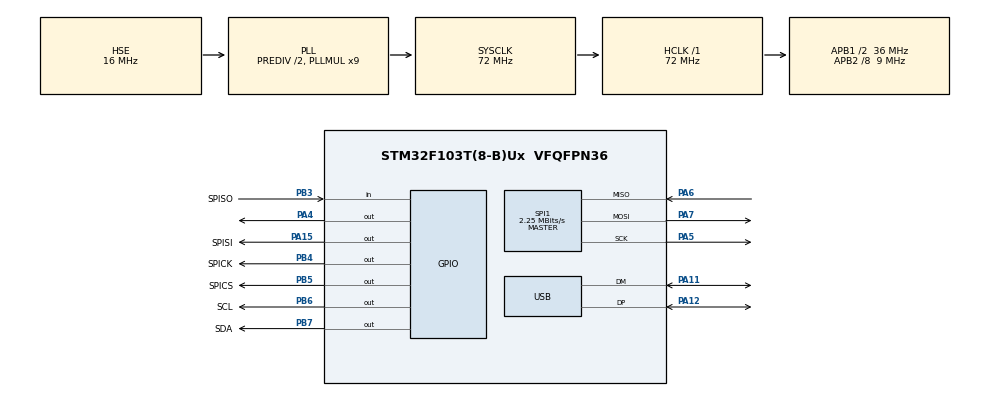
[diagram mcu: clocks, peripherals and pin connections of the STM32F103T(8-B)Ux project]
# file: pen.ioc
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FATFS._CODE_PAGE=936
FATFS._MAX_LFN=20
FATFS._MAX_SS=4096
FATFS._USE_LFN=2
FATFS._VOLUMES=2
Mcu.Family=STM32F1
Mcu.Name=STM32F103T(8-B)Ux
Mcu.Package=VFQFPN36
NVIC.PriorityGroup=NVIC_PRIORITYGROUP_4
NVIC.USB_LP_CAN1_RX0_IRQn=true\:0\:0\:false\:false\:true\:true
PA11.Mode=Device
PA11.Signal=USB_DM
PA12.Mode=Device
PA12.Signal=USB_DP
PA13.Mode=Serial_Wire
PA13.Signal=SYS_JTMS-SWDIO
PA14.Mode=Serial_Wire
PA14.Signal=SYS_JTCK-SWCLK
PA15.GPIO_Label=SPISI
PA15.Signal=GPIO_Output
PA4.GPIO_Speed=GPIO_SPEED_FREQ_HIGH
PA4.Signal=GPIO_Output
PA5.Mode=Full_Duplex_Master
PA5.Signal=SPI1_SCK
PA6.Mode=Full_Duplex_Master
PA6.Signal=SPI1_MISO
PA7.Mode=Full_Duplex_Master
PA7.Signal=SPI1_MOSI
PB3.GPIO_Label=SPISO
PB3.GPIO_PuPd=GPIO_PULLUP
PB3.Signal=GPIO_Input
PB4.GPIO_Label=SPICK
PB4.Signal=GPIO_Output
PB5.GPIO_Label=SPICS
PB5.Signal=GPIO_Output
PB6.GPIO_Label=SCL
PB6.GPIO_Speed=GPIO_SPEED_FREQ_LOW
PB6.Signal=GPIO_Output
PB7.GPIO_Label=SDA
PB7.GPIO_Speed=GPIO_SPEED_FREQ_LOW
PB7.Signal=GPIO_Output
PD0-OSC_IN.Mode=HSE-External-Oscillator
PD0-OSC_IN.Signal=RCC_OSC_IN
PD1-OSC_OUT.Mode=HSE-External-Oscillator
PD1-OSC_OUT.Signal=RCC_OSC_OUT
ProjectManager.HeapSize=0x200
ProjectManager.StackSize=0x400
ProjectManager.TargetToolchain=EWARM
RCC.AHBFreq_Value=72000000
RCC.APB1CLKDivider=RCC_HCLK_DIV2
RCC.APB1Freq_Value=36000000
RCC.APB1TimFreq_Value=72000000
RCC.APB2CLKDivider=RCC_HCLK_DIV8
RCC.APB2Freq_Value=9000000
RCC.APB2TimFreq_Value=18000000
RCC.HCLKFreq_Value=72000000
RCC.HSEDivPLL=RCC_HSE_PREDIV_DIV2
RCC.HSE_VALUE=16000000
RCC.PLLMUL=RCC_PLL_MUL9
RCC.SYSCLKFreq_VALUE=72000000
RCC.SYSCLKSource=RCC_SYSCLKSOURCE_PLLCLK
RCC.USBFreq_Value=48000000
RCC.USBPrescaler=RCC_USBCLKSOURCE_PLL_DIV1_5
SPI1.BaudRatePrescaler=SPI_BAUDRATEPRESCALER_4
SPI1.CLKPhase=SPI_PHASE_2EDGE
SPI1.CLKPolarity=SPI_POLARITY_HIGH
SPI1.CalculateBaudRate=2.25 MBits/s
SPI1.Direction=SPI_DIRECTION_2LINES
SPI1.Mode=SPI_MODE_MASTER
SPI1.VirtualType=VM_MASTER
USB.ep0_mps=DEP0CTL_MPS_64
USB_DEVICE.CLASS_NAME_FS=MSC
USB_DEVICE.MSC_MEDIA_PACKET-MSC_FS=0x800
USB_DEVICE.VirtualModeFS=Msc_FS
VP_FATFS_VS_Generic.Mode=User_defined
VP_USB_DEVICE_VS_USB_DEVICE_MSC_FS.Mode=MSC_FS
board=pen

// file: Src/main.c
/**
  ******************************************************************************
  * File Name          : main.c
  * Description        : Main program body
  ******************************************************************************
  *
  * Copyright (c) 2018 STMicroelectronics International N.V.
  * All rights reserved.
  *
  * Redistribution and use in source and binary forms, with or without
  * modification, are permitted, provided that the following conditions are met:
  *
  * 1. Redistribution of source code must retain the above copyright notice,
  *    this list of conditions and the following disclaimer.
  * 2. Redistributions in binary form must reproduce the above copyright notice,
  *    this list of conditions and the following disclaimer in the documentation
  *    and/or other materials provided with the distribution.
  * 3. Neither the name of STMicroelectronics nor the names of other
  *    contributors to this software may be used to endorse or promote products
  *    derived from this software without specific written permission.
  * 4. This software, including modifications and/or derivative works of this
  *    software, must execute solely and exclusively on microcontroller or
  *    microprocessor devices manufactured by or for STMicroelectronics.
  * 5. Redistribution and use of this software other than as permitted under
  *    this license is void and will automatically terminate your rights under
  *    this license.
  *
  * THIS SOFTWARE IS PROVIDED BY STMICROELECTRONICS AND CONTRIBUTORS "AS IS"
  * AND ANY EXPRESS, IMPLIED OR STATUTORY WARRANTIES, INCLUDING, BUT NOT
  * LIMITED TO, THE IMPLIED WARRANTIES OF MERCHANTABILITY, FITNESS FOR A
  * PARTICULAR PURPOSE AND NON-INFRINGEMENT OF THIRD PARTY INTELLECTUAL PROPERTY
  * RIGHTS ARE DISCLAIMED TO THE FULLEST EXTENT PERMITTED BY LAW. IN NO EVENT
  * SHALL STMICROELECTRONICS OR CONTRIBUTORS BE LIABLE FOR ANY DIRECT, INDIRECT,
  * INCIDENTAL, SPECIAL, EXEMPLARY, OR CONSEQUENTIAL DAMAGES (INCLUDING, BUT NOT
  * LIMITED TO, PROCUREMENT OF SUBSTITUTE GOODS OR SERVICES; LOSS OF USE, DATA,
  * OR PROFITS; OR BUSINESS INTERRUPTION) HOWEVER CAUSED AND ON ANY THEORY OF
  * LIABILITY, WHETHER IN CONTRACT, STRICT LIABILITY, OR TORT (INCLUDING
  * NEGLIGENCE OR OTHERWISE) ARISING IN ANY WAY OUT OF THE USE OF THIS SOFTWARE,
  * EVEN IF ADVISED OF THE POSSIBILITY OF SUCH DAMAGE.
  *
  ******************************************************************************
  */
#include "main.h"
#include "stm32f1xx_hal.h"
#include "fatfs.h"
#include "usb_device.h"

/* USER CODE BEGIN Includes */
#include "oled.h"
#include "LCD_ZK.h"
#include "bsp_spiflash.h"
/* USER CODE END Includes */

SPI_HandleTypeDef hspi1;

/* USER CODE BEGIN PV */
/* Private variables ---------------------------------------------------------*/

/* USER CODE END PV */

void SystemClock_Config(void);
void Error_Handler(void);
static void MX_GPIO_Init(void);
static void MX_SPI1_Init(void);

/* USER CODE BEGIN PFP */
/* Private function prototypes -----------------------------------------------*/

/* USER CODE END PFP */

/* USER CODE BEGIN 0 */

#include "stdlib.h"
FATFS fs;/* FatFs文件系统对象 */
FIL file;/* 文件对象 */
FRESULT f_res;
unsigned int  fnum;  //文件成功读写数量
volatile unsigned char keyvalue=0;
volatile unsigned int timecnt=0;
extern void delay_ms(unsigned int ms);
unsigned char nextflag=1;
unsigned char str[30];

void keyinit(void)
{
  GPIO_InitTypeDef GPIO_InitStruct;
  GPIO_InitStruct.Pin = GPIO_PIN_8|GPIO_PIN_9|GPIO_PIN_10;
  GPIO_InitStruct.Mode = GPIO_MODE_INPUT;//输入
  GPIO_InitStruct.Pull=GPIO_PULLUP;//上拉
  GPIO_InitStruct.Speed = GPIO_SPEED_FREQ_LOW;
  HAL_GPIO_Init(GPIOA, &GPIO_InitStruct);
}

unsigned char readkey(void)
{
  volatile unsigned short tmp1=GPIOA->IDR;
  volatile unsigned short tmp2=GPIOA->IDR;
  volatile unsigned short tmp3=GPIOA->IDR;
  tmp1=(tmp1&(1<<8));
  tmp2=(tmp2&(1<<9));
  tmp3=(tmp3&(1<<10));
  if(tmp1==0)
  {
    return 1;
  }
  else if(tmp2==0)
  {
    return 2;
  }
  else if(tmp3==0)
  {
    return 3;
  }
  return 0;

}
#define Copyaddr 0x400000
#define Copyend  0x7FFFFF
unsigned int size;
//将文件读到flash
unsigned char copyflash(unsigned char nextf)
{

  unsigned char readtmp=0;
  unsigned int i;

  if(nextf==1)
  {
    size=file.fsize;
  }else
  {
    size=0;
  }

  for(i=0;i<size;i++)
  {
    if((i%0x1000)==0)
    {
      SPI_FLASH_SectorErase(i+Copyaddr);//写入前先删除
    }
    f_res=f_read(&file,&readtmp,1,&fnum); //一次读一个字节直到读完全部文件信息
    SPI_FLASH_BufferWrite( &readtmp ,i+Copyaddr,1);
    if(f_eof(&file))
    {
      f_close(&file);
      return 1;
    }else if(f_res!=FR_OK)
    {
      f_close(&file);
      sprintf((char *)str,"挂载失败%d",f_res);
      display_GB2312_string(0,0,str);
      return 1;
    }
    //SPI_FLASH_BufferRead( &readjup ,i+Copyaddr,1);
  }

  return 0;
}
void menclr(unsigned char *p,unsigned short c)
{
  unsigned short i;
  for(i=0;i<c;i++)
  {
    *p++=0;
  }
}

void Replace(unsigned char *p,unsigned short c)
{
  unsigned short i;
  for(i=0;i<c;i++)
  {
    if(p[i]<0x20&&p[i]>0)
    {
      p[i]=0x20;//空格替代换行
    }
  }
}
unsigned int index=0;
unsigned int readnumindex=0;
unsigned char bufs[17];
unsigned char bufx[17];

void ReadBuffer(unsigned int addrindex,unsigned char xs)
{
  unsigned char i;
  unsigned char j;
  unsigned int addr;
  unsigned char snumread;
  unsigned char xnumread;
  if(xs==2&&readnumindex>0)//上翻且页数大于0支持上翻
  {
    addr=addrindex+Copyaddr;
    //下面
    menclr(bufx,17);
    SPI_FLASH_BufferRead(bufx,addr-15,15);//往前读15个
    j=0;
    for(i=0;i<15;i++)//15个里面偶数个英文就往前读16个显示
    {
      if(bufx[i]<=0x7e)
      {
        j++;
      }
    }
    if((j%2)==0)//偶数个英文需要重新重读16个
    {
      SPI_FLASH_BufferRead(bufx,addr-16,16);//往前读16个
      Replace(bufx,16);
      bufx[16]=0;
      display_GB2312_string(2,0,bufx);
      xnumread=16;

    }else
    {
      Replace(bufx,15);
      bufx[15]=' ';
      bufx[16]=0;
      display_GB2312_string(2,0,bufx);
      xnumread=15;
    }

    //上面
    menclr(bufs,17);
    SPI_FLASH_BufferRead(bufs,addr-xnumread-15,15);//往前读15个
    j=0;
    for(i=0;i<15;i++)//15个里面偶数个英文就往前读16个显示
    {
      if(bufs[i]<=0x7e)
      {
        j++;
      }
    }
    if((j%2)==0)//偶数个英文需要重新重读16个
    {
      SPI_FLASH_BufferRead(bufs,addr-xnumread-16,16);//往前读16个
      Replace(bufx,16);
      bufs[16]=0;
      display_GB2312_string(0,0,bufs);
      snumread=16;

    }else
    {
      Replace(bufx,15);//换行替代回车
      bufs[15]=' ';
      bufs[16]=0;
      display_GB2312_string(0,0,bufs);
      snumread=15;
    }

    if(index>0)
    {
      index=((index-snumread)-xnumread);
      readnumindex--;//成功下翻
    }else
    {
      index=0;
      readnumindex=0;
    }

  }else
  {
    addr=index+Copyaddr;
    //上面
    SPI_FLASH_BufferRead(bufs,addr,16);
    j=0;
    for(i=0;i<16;i++)
    {
      if(bufs[i]<=0x7e)
      {
        j++;
      }
    }
    if((j%2)!=0)//奇数个英文
    {
      bufs[15]=' ';
      snumread=15;
    }else
    {
      snumread=16;//正常读了16个
    }
    bufs[16]=0;
    Replace(bufs,snumread);
    display_GB2312_string(0,0,bufs);

    //下面
    SPI_FLASH_BufferRead(bufx,addr+snumread,16);
    j=0;
    for(i=0;i<16;i++)
    {
      if(bufx[i]<=0x7e)
      {
        j++;
      }
    }
    if((j%2)!=0)//奇数个英文
    {
      bufx[15]=' ';
      xnumread=15;
    }else
    {
      xnumread=16;//正常读了16个
    }
    Replace(bufx,xnumread);
    display_GB2312_string(2,0,bufx);

    if(index<size+32)
    {
      index=index+snumread+xnumread;//一共读到的个数

      readnumindex++;//成功下翻
    }else
    {
      index=0;
      readnumindex=0;
    }

  }
}

/* USER CODE END 0 */

int main(void)
{

  /* MCU Configuration----------------------------------------------------------*/

  /* Reset of all peripherals, Initializes the Flash interface and the Systick. */
  HAL_Init();

  /* Configure the system clock */
  SystemClock_Config();

  /* Initialize all configured peripherals */
  MX_GPIO_Init();
  FLASH_SPI_CS_DISABLE();//刚开机不能片选 不然影响驱动
  MX_SPI1_Init();
  MX_USB_DEVICE_Init();
  MX_FATFS_Init();

  /* USER CODE BEGIN 2 */
  //HAL_FLASH_Unlock();
  keyinit();
  initial_rom();

  OLED_Init();

  OLED_Clear();
  display_GB2312_string(0,0,"----欢迎使用----");
  delay_ms(2000);

  //加载驱动
  if(nextflag==1)
  {
    OLED_Clear();
    if(FATFS_LinkDriver(&USER_Driver, USER_Path) == 0)// 注册一个FatFS设备：串行FLASH
    {
      nextflag=1;
    }else
    {
      nextflag=0;
      display_GB2312_string(0,0,"FATFS驱动加载失败！");
    }
  }
  //挂载文件系统
  if(nextflag==1)
  {
    OLED_Clear();
    f_res =f_mount(&fs,(TCHAR const*)USER_Path,1);
    if(f_res==FR_OK)
    {
      nextflag=1;
      display_GB2312_string(0,0,"文件系统挂载成功！");
    }else
    {
      nextflag=0;
      sprintf((char *)str,"挂载失败%d",f_res);
      display_GB2312_string(0,0,str);
    }
  }

  unsigned char TXTPath[9];
  TXTPath[0]=USER_Path[0];
  TXTPath[1]=USER_Path[1];
  TXTPath[2]=USER_Path[2];
  TXTPath[3]='1';
  TXTPath[4]='.';
  TXTPath[5]='t';
  TXTPath[6]='x';
  TXTPath[7]='t';
  TXTPath[8]=0;
  //打开文件
  if(nextflag==1)
  {
    OLED_Clear();
    if(FR_OK ==f_open(&file, (const char *)TXTPath, FA_OPEN_EXISTING|FA_READ))
    {
      nextflag=1;
      sprintf((char *)str,"TXT大小:%d",file.fsize);
      display_GB2312_string(0,0,str);

    }else
    {
      nextflag=0;
      sprintf((char *)str,"打开失败%d",f_res);
      display_GB2312_string(0,0,str);
    }
  }
  copyflash(nextflag);
  /* USER CODE END 2 */

  /* Infinite loop */
  while (1)
  {

  /* USER CODE BEGIN 3 */
    if(keyvalue==1||keyvalue==2)
    {
 Lgto:
      OLED_Clear();
      if(index<size+32)
      {
        ReadBuffer(index,keyvalue);

      }else
      {
        display_GB2312_string(0,0,"-------完-------");
        index=0;
      }
      keyvalue=0;
    }else if(keyvalue==3)
    {
      static unsigned char flagrest=0;

      keyvalue=0;
      index=0;
      readnumindex=0;//页数记录
      if(flagrest==0)
      {
        flagrest=1;
        OLED_Clear();
      }else if(flagrest==1)
      {
        flagrest=0;
        goto Lgto;
      }
    }
  }
  /* USER CODE END 3 */

}

/** System Clock Configuration
*/
void SystemClock_Config(void)
{

  RCC_OscInitTypeDef RCC_OscInitStruct;
  RCC_ClkInitTypeDef RCC_ClkInitStruct;
  RCC_PeriphCLKInitTypeDef PeriphClkInit;

    /**Initializes the CPU, AHB and APB busses clocks
    */
  RCC_OscInitStruct.OscillatorType = RCC_OSCILLATORTYPE_HSE;
  RCC_OscInitStruct.HSEState = RCC_HSE_ON;
  RCC_OscInitStruct.HSEPredivValue = RCC_HSE_PREDIV_DIV2;
  RCC_OscInitStruct.HSIState = RCC_HSI_ON;
  RCC_OscInitStruct.PLL.PLLState = RCC_PLL_ON;
  RCC_OscInitStruct.PLL.PLLSource = RCC_PLLSOURCE_HSE;
  RCC_OscInitStruct.PLL.PLLMUL = RCC_PLL_MUL9;
  if (HAL_RCC_OscConfig(&RCC_OscInitStruct) != HAL_OK)
  {
    Error_Handler();
  }

    /**Initializes the CPU, AHB and APB busses clocks
    */
  RCC_ClkInitStruct.ClockType = RCC_CLOCKTYPE_HCLK|RCC_CLOCKTYPE_SYSCLK
                              |RCC_CLOCKTYPE_PCLK1|RCC_CLOCKTYPE_PCLK2;
  RCC_ClkInitStruct.SYSCLKSource = RCC_SYSCLKSOURCE_PLLCLK;
  RCC_ClkInitStruct.AHBCLKDivider = RCC_SYSCLK_DIV1;
  RCC_ClkInitStruct.APB1CLKDivider = RCC_HCLK_DIV2;
  RCC_ClkInitStruct.APB2CLKDivider = RCC_HCLK_DIV8;

  if (HAL_RCC_ClockConfig(&RCC_ClkInitStruct, FLASH_LATENCY_2) != HAL_OK)
  {
    Error_Handler();
  }

  PeriphClkInit.PeriphClockSelection = RCC_PERIPHCLK_USB;
  PeriphClkInit.UsbClockSelection = RCC_USBCLKSOURCE_PLL_DIV1_5;
  if (HAL_RCCEx_PeriphCLKConfig(&PeriphClkInit) != HAL_OK)
  {
    Error_Handler();
  }

    /**Configure the Systick interrupt time
    */
  HAL_SYSTICK_Config(HAL_RCC_GetHCLKFreq()/1000);

    /**Configure the Systick
    */
  HAL_SYSTICK_CLKSourceConfig(SYSTICK_CLKSOURCE_HCLK);

  /* SysTick_IRQn interrupt configuration */
  HAL_NVIC_SetPriority(SysTick_IRQn, 0, 0);
}

/* SPI1 init function */
static void MX_SPI1_Init(void)
{

  hspi1.Instance = SPI1;
  hspi1.Init.Mode = SPI_MODE_MASTER;
  hspi1.Init.Direction = SPI_DIRECTION_2LINES;
  hspi1.Init.DataSize = SPI_DATASIZE_8BIT;
  hspi1.Init.CLKPolarity = SPI_POLARITY_HIGH;
  hspi1.Init.CLKPhase = SPI_PHASE_2EDGE;
  hspi1.Init.NSS = SPI_NSS_SOFT;
  hspi1.Init.BaudRatePrescaler = SPI_BAUDRATEPRESCALER_4;
  hspi1.Init.FirstBit = SPI_FIRSTBIT_MSB;
  hspi1.Init.TIMode = SPI_TIMODE_DISABLE;
  hspi1.Init.CRCCalculation = SPI_CRCCALCULATION_DISABLE;
  hspi1.Init.CRCPolynomial = 10;
  if (HAL_SPI_Init(&hspi1) != HAL_OK)
  {
    Error_Handler();
  }

}

/** Configure pins as
        * Analog
        * Input
        * Output
        * EVENT_OUT
        * EXTI
*/
static void MX_GPIO_Init(void)
{

  GPIO_InitTypeDef GPIO_InitStruct;

  /* GPIO Ports Clock Enable */
  __HAL_RCC_GPIOD_CLK_ENABLE();
  __HAL_RCC_GPIOA_CLK_ENABLE();
  __HAL_RCC_GPIOB_CLK_ENABLE();

  /*Configure GPIO pin Output Level */
  HAL_GPIO_WritePin(GPIOA, GPIO_PIN_4|SPISI_Pin, GPIO_PIN_RESET);

  /*Configure GPIO pin Output Level */
  HAL_GPIO_WritePin(GPIOB, SPICK_Pin|SPICS_Pin|SCL_Pin|SDA_Pin, GPIO_PIN_RESET);

  /*Configure GPIO pin : PA4 */
  GPIO_InitStruct.Pin = GPIO_PIN_4;
  GPIO_InitStruct.Mode = GPIO_MODE_OUTPUT_PP;
  GPIO_InitStruct.Speed = GPIO_SPEED_FREQ_HIGH;
  HAL_GPIO_Init(GPIOA, &GPIO_InitStruct);

  /*Configure GPIO pin : SPISI_Pin */
  GPIO_InitStruct.Pin = SPISI_Pin;
  GPIO_InitStruct.Mode = GPIO_MODE_OUTPUT_PP;
  GPIO_InitStruct.Speed = GPIO_SPEED_FREQ_LOW;
  HAL_GPIO_Init(SPISI_GPIO_Port, &GPIO_InitStruct);

  /*Configure GPIO pin : SPISO_Pin */
  GPIO_InitStruct.Pin = SPISO_Pin;
  GPIO_InitStruct.Mode = GPIO_MODE_INPUT;
  GPIO_InitStruct.Pull = GPIO_PULLUP;
  HAL_GPIO_Init(SPISO_GPIO_Port, &GPIO_InitStruct);

  /*Configure GPIO pins : SPICK_Pin SPICS_Pin SCL_Pin SDA_Pin */
  GPIO_InitStruct.Pin = SPICK_Pin|SPICS_Pin|SCL_Pin|SDA_Pin;
  GPIO_InitStruct.Mode = GPIO_MODE_OUTPUT_PP;
  GPIO_InitStruct.Speed = GPIO_SPEED_FREQ_LOW;
  HAL_GPIO_Init(GPIOB, &GPIO_InitStruct);

}

void Error_Handler(void)
{
  while(1)
  {
  }
}

/************************ (C) COPYRIGHT STMicroelectronics *****END OF FILE****/
